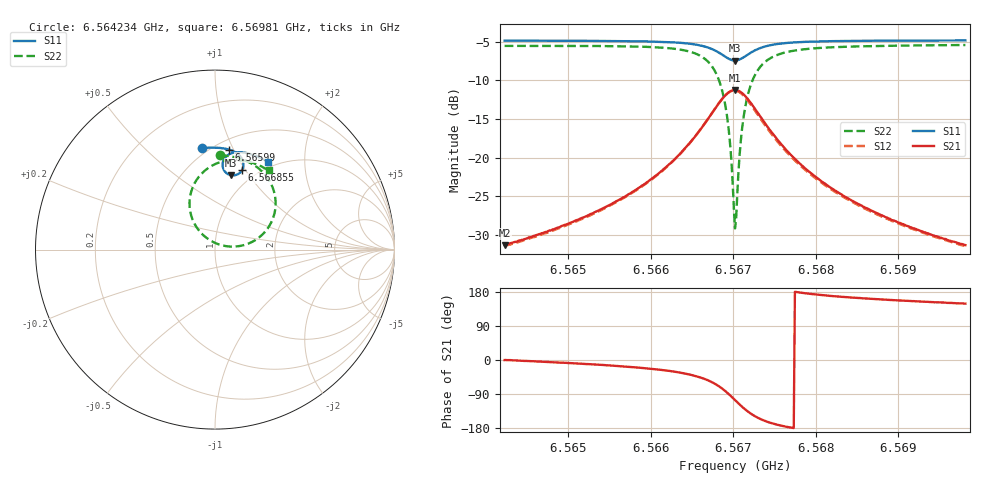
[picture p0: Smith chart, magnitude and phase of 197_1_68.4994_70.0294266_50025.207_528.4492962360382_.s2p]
#  HZ  S  RI  R  50.00
! Rohde & Schwarz Vector Network Analyzer
! Rohde-Schwarz,ZNB20-2Port,1311601062101988,3.16
! Created: UTC 3/20/2024, 4:57:21 PM
! freq[Hz]  re:S11  im:S11  re:S21  im:S21  re:S12  im:S12  re:S22  im:S22
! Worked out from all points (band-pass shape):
!   401 points, 6.564234 GHz to 6.56981 GHz, reference 50 ohm
!   highest |S21| = -11.26 dB at 6.567022 GHz (marker M1); lowest = -31.3 dB at 6.564234 GHz (marker M2)
!   |S21| within 3 dB of the highest: 6.566743 GHz to 6.5673 GHz (557 kHz wide, 0.00848 % of centre)
!   lowest |S11| = -7.5 dB at 6.567022 GHz (marker M3), VSWR 2.47, Z = 40.8 + j41.3 ohm
!   |S11| at or under -10 dB: nowhere
!   |S22| runs from -29.1 to -5.5 dB; largest |S21 - S12| = 0.013
!   S11 on the Smith chart (normalised r, x): 6.564234 GHz: 0.46, +0.77; 6.56599 GHz: 0.59, +0.96; 6.566855 GHz: 0.85, +0.96; 6.56981 GHz: 0.92, +1.33
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6.564234e9  -0.072 0.5646  0.0272 -5.76e-05  0.0269 -0.000526  0.0278 0.526
6.565168e9  0.00392 0.568  0.0403 -0.00698  0.0395 -0.00757  0.1153 0.5138
6.5659904e9  0.0797 0.5567  0.066 -0.0278  0.065 -0.0286  0.2187 0.47
6.566102e9  0.0913 0.5527  0.0719 -0.0342  0.0706 -0.0351  0.2373 0.457
6.5664087e9  0.1261 0.534  0.0926 -0.0659  0.091 -0.067  0.2959 0.3944
6.5666317e9  0.1515 0.5035  0.1062 -0.1188  0.1038 -0.1212  0.3353 0.2919
6.5667572e9  0.1586 0.4729  0.0989 -0.1723  0.0945 -0.1756  0.3281 0.1897
6.5668547e9  0.15 0.4421  0.0668 -0.2253  0.0595 -0.2281  0.2711 0.0908
6.5668966e9  0.14 0.4293  0.0411 -0.2463  0.032 -0.2482  0.2238 0.0523
6.5669384e9  0.1254 0.4191  0.00748 -0.2623  -0.00319 -0.2623  0.1624 0.0255
6.5669663e9  0.1134 0.4149  -0.0185 -0.2678  -0.03 -0.2659  0.115 0.0173
6.5670081e9  0.0941 0.4137  -0.0602 -0.2667  -0.0716 -0.2618  0.0414 0.0232
6.567022e9  0.0876 0.4147  -0.074 -0.2634  -0.0852 -0.2577  0.0173 0.0304
6.5670499e9  0.075 0.419  -0.1003 -0.2532  -0.1106 -0.2454  -0.0276 0.0517
6.5670917e9  0.0594 0.4301  -0.1336 -0.2293  -0.1416 -0.2195  -0.0823 0.0979
6.5671335e9  0.0487 0.4448  -0.1572 -0.1995  -0.1625 -0.1885  -0.1189 0.1535
6.5671893e9  0.0425 0.4659  -0.1739 -0.1574  -0.176 -0.1467  -0.1405 0.2288
6.567259e9  0.0447 0.4896  -0.1764 -0.1112  -0.1754 -0.1021  -0.136 0.3093
6.5675099e9  0.083 0.5331  -0.1336 -0.0247  -0.1306 -0.0208  -0.0387 0.4538
6.567956e9  0.1437 0.5428  -0.0779 0.00829  -0.076 0.00949  0.0897 0.4988
6.56889e9  0.2293 0.5212  -0.0376 0.0147  -0.0368 0.015  0.2194 0.4798
6.5698101e9  0.2967 0.4878  -0.0234 0.0141  -0.0229 0.0141  0.2984 0.4424
